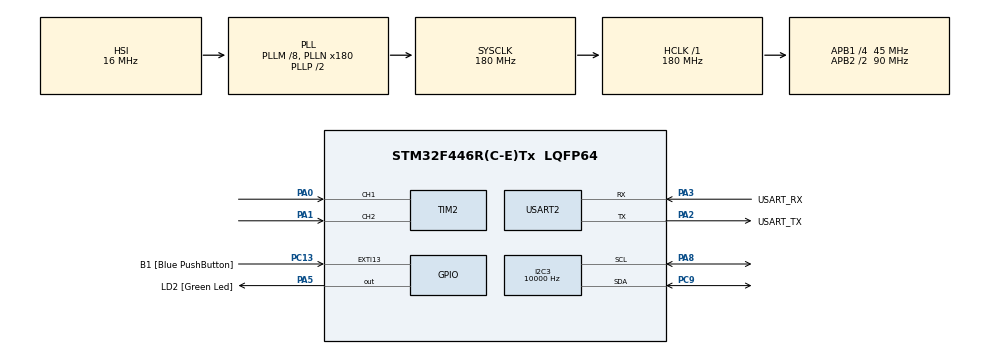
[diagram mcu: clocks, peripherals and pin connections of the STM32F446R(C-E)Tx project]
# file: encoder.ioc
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I2C3.ClockSpeed=10000
Mcu.Family=STM32F4
Mcu.Name=STM32F446R(C-E)Tx
Mcu.Package=LQFP64
NVIC.PriorityGroup=NVIC_PRIORITYGROUP_0
NVIC.TIM6_DAC_IRQn=true\:0\:0\:false\:false\:true\:true\:true\:true
PA0-WKUP.Signal=S_TIM2_CH1_ETR
PA1.Signal=S_TIM2_CH2
PA13.GPIO_Label=TMS
PA13.Mode=Serial_Wire
PA13.Signal=SYS_JTMS-SWDIO
PA14.GPIO_Label=TCK
PA14.Mode=Serial_Wire
PA14.Signal=SYS_JTCK-SWCLK
PA2.GPIO_Label=USART_TX
PA2.Mode=Asynchronous
PA2.Signal=USART2_TX
PA3.GPIO_Label=USART_RX
PA3.Mode=Asynchronous
PA3.Signal=USART2_RX
PA5.GPIO_Label=LD2 [Green Led]
PA5.Signal=GPIO_Output
PA8.Mode=I2C
PA8.Signal=I2C3_SCL
PB3.GPIO_Label=SWO
PB3.Signal=SYS_JTDO-SWO
PC13.GPIO_Label=B1 [Blue PushButton]
PC13.GPIO_ModeDefaultEXTI=GPIO_MODE_IT_FALLING
PC13.Signal=GPXTI13
PC14-OSC32_IN.Mode=LSE-External-Oscillator
PC14-OSC32_IN.Signal=RCC_OSC32_IN
PC15-OSC32_OUT.Mode=LSE-External-Oscillator
PC15-OSC32_OUT.Signal=RCC_OSC32_OUT
PC9.Mode=I2C
PC9.Signal=I2C3_SDA
PH0-OSC_IN.Mode=HSE-External-Oscillator
PH0-OSC_IN.Signal=RCC_OSC_IN
PH1-OSC_OUT.Mode=HSE-External-Oscillator
PH1-OSC_OUT.Signal=RCC_OSC_OUT
ProjectManager.HeapSize=0x200
ProjectManager.StackSize=0x400
ProjectManager.TargetToolchain=STM32CubeIDE
RCC.48MHZClocksFreq_Value=84000000
RCC.AHBFreq_Value=180000000
RCC.APB1CLKDivider=RCC_HCLK_DIV4
RCC.APB1Freq_Value=45000000
RCC.APB1TimFreq_Value=90000000
RCC.APB2CLKDivider=RCC_HCLK_DIV2
RCC.APB2Freq_Value=90000000
RCC.APB2TimFreq_Value=180000000
RCC.CortexFreq_Value=180000000
RCC.FLatency-AdvancedSettings=FLASH_LATENCY_5
RCC.HCLKFreq_Value=180000000
RCC.HSE_VALUE=8000000
RCC.HSI_VALUE=16000000
RCC.PLLM=8
RCC.PLLN=180
RCC.SYSCLKFreq_VALUE=180000000
RCC.SYSCLKSource=RCC_SYSCLKSOURCE_PLLCLK
RCC.USBFreq_Value=180000000
RCC.VCOOutputFreq_Value=360000000
SH.S_TIM2_CH1_ETR.0=TIM2_CH1,Encoder_Interface
SH.S_TIM2_CH2.0=TIM2_CH2,Encoder_Interface
TIM2.EncoderMode=TIM_ENCODERMODE_TI12
TIM2.IC1Polarity=TIM_ICPOLARITY_FALLING
TIM2.IC2Polarity=TIM_ICPOLARITY_FALLING
TIM6.Period=500-1
TIM6.Prescaler=9000-1
USART2.VirtualMode=VM_ASYNC
VP_TIM6_VS_ClockSourceINT.Mode=Enable_Timer
board=NUCLEO-F446RE

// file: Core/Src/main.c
/* USER CODE BEGIN Header */
/**
  ******************************************************************************
  * @file           : main.c
  * @brief          : Main program body
  ******************************************************************************
  * @attention
  *
  * Copyright (c) 2022 STMicroelectronics.
  * All rights reserved.
  *
  * This software is licensed under terms that can be found in the LICENSE file
  * in the root directory of this software component.
  * If no LICENSE file comes with this software, it is provided AS-IS.
  *
  ******************************************************************************
  */
/* USER CODE END Header */
#include "main.h"
#include <stdio.h>
#include "string.h"

I2C_HandleTypeDef hi2c3;

TIM_HandleTypeDef htim2;
TIM_HandleTypeDef htim6;

UART_HandleTypeDef huart2;

void SystemClock_Config(void);
static void MX_GPIO_Init(void);
static void MX_USART2_UART_Init(void);
static void MX_TIM2_Init(void);
static void MX_TIM6_Init(void);
static void MX_I2C3_Init(void);

/* USER CODE BEGIN 0 */
uint32_t counter = 0;

int32_t count = 0;

float position = 0;
float oldposition = 0;

float speed = 0;

// IMU address
uint16_t IMU_address = 214;

//void HAL_TIM_IC_CaptureCallback(TIM_HandleTypeDef *htim)
//{
//	HAL_GPIO_TogglePin(GPIOA, GPIO_PIN_5);
//	//	  HAL_Delay(5);
////	counter = __HAL_TIM_GET_COUNTER(htim);
////
////	count = (int16_t)counter;
////	position = count * 0.08789; // position in degree
//}
/* USER CODE END 0 */

int main(void)
{
  /* USER CODE BEGIN 1 */
  uint8_t buf[20];
  buf[0] = 1;
  buf[1] = 12;
  uint8_t buff[3];
  uint8_t XL_Mode = 0x60;
  uint8_t XL_IT = 0x01;
  uint8_t  OUTX_L_XL;
  uint8_t  OUTX_H_XL;
  uint8_t  OUTY_L_XL;
  uint8_t  OUTY_H_XL;
  uint8_t  OUTZ_L_XL;
  uint8_t  OUTZ_H_XL;
  uint8_t IMU_Data_Ready;

  uint16_t XL_X;
  uint16_t XL_Y;
  uint16_t XL_Z;
  /* USER CODE END 1 */

  /* MCU Configuration--------------------------------------------------------*/

  /* Reset of all peripherals, Initializes the Flash interface and the Systick. */
  HAL_Init();

  /* Configure the system clock */
  SystemClock_Config();

  /* Initialize all configured peripherals */
  MX_GPIO_Init();
  MX_USART2_UART_Init();
  MX_TIM2_Init();
  MX_TIM6_Init();
  MX_I2C3_Init();
  /* USER CODE BEGIN 2 */
  // encoder init
  HAL_TIM_Encoder_Start  ( &htim2,  TIM_CHANNEL_ALL ); //TIM2 IT enabled
  HAL_TIM_Base_Start_IT  ( &htim6 );
  /* USER CODE END 2 */

  /* Infinite loop */
  /* USER CODE BEGIN WHILE */
  while (1)
  {
	  //HAL_I2C_Master_Transmit  ( &hi2c3, IMU_address, 0x0f, 1, 10000);

	  //HAL_I2C_Master_Receive  ( &hi2c3, 214, buf, 1, 10000);

	  //HAL_I2C_Mem_Write  ( &hi2c3 ,IMU_address, 0x0f, 1, buf, 1, 10000);
	  HAL_I2C_Mem_Read  ( &hi2c3 ,IMU_address, 0x0f, 1, buf, 1, 10000);
	  HAL_Delay(1);

	  HAL_I2C_Mem_Write  ( &hi2c3 ,IMU_address, 0x10, 1, &XL_Mode, 1, 10000); // 0x10 = CTRL1_XL
	  HAL_I2C_Mem_Write  ( &hi2c3 ,IMU_address, 0x0D, 1, &XL_IT, 1, 10000); // INT1_CTRL (0Dh)
	  //HAL_Delay(10);
	  //HAL_I2C_Mem_Read  ( &hi2c3 ,IMU_address, 0x10, 1, buf[1], 1, 10000);
	  HAL_I2C_Mem_Read  ( &hi2c3 ,IMU_address, 0x0D, 1, buf, 1, 10000);
	  HAL_I2C_Mem_Read  ( &hi2c3 ,IMU_address, 0x1E, 1, &IMU_Data_Ready, 1, 10000); //STATUS_REG (1Eh)

	  if((IMU_Data_Ready & 0x01) == 1){
		  HAL_I2C_Mem_Read  ( &hi2c3 ,IMU_address, 0x28, 1, &OUTX_L_XL, 1, 10000); // OUTX_L_XL (28h)
		  HAL_I2C_Mem_Read  ( &hi2c3 ,IMU_address, 0x29, 1, &OUTX_H_XL, 1, 10000); // OUTX_H_XL (29h)
		  HAL_I2C_Mem_Read  ( &hi2c3 ,IMU_address, 0x2A, 1, &OUTY_L_XL, 1, 10000); // OUTY_L_XL (2Ah)
		  HAL_I2C_Mem_Read  ( &hi2c3 ,IMU_address, 0x2B, 1, &OUTY_H_XL, 1, 10000); // OUTY_H_XL (2Bh)
		  HAL_I2C_Mem_Read  ( &hi2c3 ,IMU_address, 0x2C, 1, &OUTZ_L_XL, 1, 10000); // OUTZ_L_XL (2Ch)
		  HAL_I2C_Mem_Read  ( &hi2c3 ,IMU_address, 0x2D, 1, &OUTZ_H_XL, 1, 10000); // OUTZ_H_XL (2Dh)
		  XL_X = (OUTX_H_XL << 8) + OUTX_L_XL;
		  XL_Y = (OUTY_H_XL << 8) + OUTY_L_XL;
		  XL_Z = (OUTZ_H_XL << 8) + OUTZ_L_XL;
		  HAL_GPIO_TogglePin(GPIOA, GPIO_PIN_5);
		  HAL_Delay(100);
		  sprintf((char*)buff, "%d ",OUTX_H_XL);
		  HAL_UART_Transmit  ( &huart2, buff, strlen((char*)buff), 10000);
		  HAL_Delay(5);
		  sprintf((char*)buff, "%d\n\r",OUTX_L_XL);
		  HAL_UART_Transmit  ( &huart2, buff, strlen((char*)buff), 10000);
		  HAL_Delay(5);
	  }
//	  HAL_GPIO_TogglePin(GPIOA, GPIO_PIN_5);
//	  HAL_Delay(500);
	  //HAL_GPIO_TogglePin(GPIOA, GPIOA5)
    /* USER CODE END WHILE */

  }
}

void SystemClock_Config(void)
{
  RCC_OscInitTypeDef RCC_OscInitStruct = {0};
  RCC_ClkInitTypeDef RCC_ClkInitStruct = {0};

  /** Configure the main internal regulator output voltage
  */
  __HAL_RCC_PWR_CLK_ENABLE();
  __HAL_PWR_VOLTAGESCALING_CONFIG(PWR_REGULATOR_VOLTAGE_SCALE1);

  /** Initializes the RCC Oscillators according to the specified parameters
  * in the RCC_OscInitTypeDef structure.
  */
  RCC_OscInitStruct.OscillatorType = RCC_OSCILLATORTYPE_HSI;
  RCC_OscInitStruct.HSIState = RCC_HSI_ON;
  RCC_OscInitStruct.HSICalibrationValue = RCC_HSICALIBRATION_DEFAULT;
  RCC_OscInitStruct.PLL.PLLState = RCC_PLL_ON;
  RCC_OscInitStruct.PLL.PLLSource = RCC_PLLSOURCE_HSI;
  RCC_OscInitStruct.PLL.PLLM = 8;
  RCC_OscInitStruct.PLL.PLLN = 180;
  RCC_OscInitStruct.PLL.PLLP = RCC_PLLP_DIV2;
  RCC_OscInitStruct.PLL.PLLQ = 2;
  RCC_OscInitStruct.PLL.PLLR = 2;
  if (HAL_RCC_OscConfig(&RCC_OscInitStruct) != HAL_OK)
  {
    Error_Handler();
  }

  /** Activate the Over-Drive mode
  */
  if (HAL_PWREx_EnableOverDrive() != HAL_OK)
  {
    Error_Handler();
  }

  /** Initializes the CPU, AHB and APB buses clocks
  */
  RCC_ClkInitStruct.ClockType = RCC_CLOCKTYPE_HCLK|RCC_CLOCKTYPE_SYSCLK
                              |RCC_CLOCKTYPE_PCLK1|RCC_CLOCKTYPE_PCLK2;
  RCC_ClkInitStruct.SYSCLKSource = RCC_SYSCLKSOURCE_PLLCLK;
  RCC_ClkInitStruct.AHBCLKDivider = RCC_SYSCLK_DIV1;
  RCC_ClkInitStruct.APB1CLKDivider = RCC_HCLK_DIV4;
  RCC_ClkInitStruct.APB2CLKDivider = RCC_HCLK_DIV2;

  if (HAL_RCC_ClockConfig(&RCC_ClkInitStruct, FLASH_LATENCY_5) != HAL_OK)
  {
    Error_Handler();
  }
}

static void MX_I2C3_Init(void)
{

  hi2c3.Instance = I2C3;
  hi2c3.Init.ClockSpeed = 10000;
  hi2c3.Init.DutyCycle = I2C_DUTYCYCLE_2;
  hi2c3.Init.OwnAddress1 = 0;
  hi2c3.Init.AddressingMode = I2C_ADDRESSINGMODE_7BIT;
  hi2c3.Init.DualAddressMode = I2C_DUALADDRESS_DISABLE;
  hi2c3.Init.OwnAddress2 = 0;
  hi2c3.Init.GeneralCallMode = I2C_GENERALCALL_DISABLE;
  hi2c3.Init.NoStretchMode = I2C_NOSTRETCH_DISABLE;
  if (HAL_I2C_Init(&hi2c3) != HAL_OK)
  {
    Error_Handler();
  }

}

static void MX_TIM2_Init(void)
{

  TIM_Encoder_InitTypeDef sConfig = {0};
  TIM_MasterConfigTypeDef sMasterConfig = {0};

  htim2.Instance = TIM2;
  htim2.Init.Prescaler = 0;
  htim2.Init.CounterMode = TIM_COUNTERMODE_UP;
  htim2.Init.Period = 4294967295;
  htim2.Init.ClockDivision = TIM_CLOCKDIVISION_DIV1;
  htim2.Init.AutoReloadPreload = TIM_AUTORELOAD_PRELOAD_DISABLE;
  sConfig.EncoderMode = TIM_ENCODERMODE_TI12;
  sConfig.IC1Polarity = TIM_ICPOLARITY_FALLING;
  sConfig.IC1Selection = TIM_ICSELECTION_DIRECTTI;
  sConfig.IC1Prescaler = TIM_ICPSC_DIV1;
  sConfig.IC1Filter = 0;
  sConfig.IC2Polarity = TIM_ICPOLARITY_FALLING;
  sConfig.IC2Selection = TIM_ICSELECTION_DIRECTTI;
  sConfig.IC2Prescaler = TIM_ICPSC_DIV1;
  sConfig.IC2Filter = 0;
  if (HAL_TIM_Encoder_Init(&htim2, &sConfig) != HAL_OK)
  {
    Error_Handler();
  }
  sMasterConfig.MasterOutputTrigger = TIM_TRGO_RESET;
  sMasterConfig.MasterSlaveMode = TIM_MASTERSLAVEMODE_DISABLE;
  if (HAL_TIMEx_MasterConfigSynchronization(&htim2, &sMasterConfig) != HAL_OK)
  {
    Error_Handler();
  }

}

static void MX_TIM6_Init(void)
{

  TIM_MasterConfigTypeDef sMasterConfig = {0};

  htim6.Instance = TIM6;
  htim6.Init.Prescaler = 9000-1;
  htim6.Init.CounterMode = TIM_COUNTERMODE_UP;
  htim6.Init.Period = 500-1;
  htim6.Init.AutoReloadPreload = TIM_AUTORELOAD_PRELOAD_DISABLE;
  if (HAL_TIM_Base_Init(&htim6) != HAL_OK)
  {
    Error_Handler();
  }
  sMasterConfig.MasterOutputTrigger = TIM_TRGO_RESET;
  sMasterConfig.MasterSlaveMode = TIM_MASTERSLAVEMODE_DISABLE;
  if (HAL_TIMEx_MasterConfigSynchronization(&htim6, &sMasterConfig) != HAL_OK)
  {
    Error_Handler();
  }

}

static void MX_USART2_UART_Init(void)
{

  huart2.Instance = USART2;
  huart2.Init.BaudRate = 115200;
  huart2.Init.WordLength = UART_WORDLENGTH_8B;
  huart2.Init.StopBits = UART_STOPBITS_1;
  huart2.Init.Parity = UART_PARITY_NONE;
  huart2.Init.Mode = UART_MODE_TX_RX;
  huart2.Init.HwFlowCtl = UART_HWCONTROL_NONE;
  huart2.Init.OverSampling = UART_OVERSAMPLING_16;
  if (HAL_UART_Init(&huart2) != HAL_OK)
  {
    Error_Handler();
  }

}

static void MX_GPIO_Init(void)
{
  GPIO_InitTypeDef GPIO_InitStruct = {0};

  /* GPIO Ports Clock Enable */
  __HAL_RCC_GPIOC_CLK_ENABLE();
  __HAL_RCC_GPIOH_CLK_ENABLE();
  __HAL_RCC_GPIOA_CLK_ENABLE();
  __HAL_RCC_GPIOB_CLK_ENABLE();

  /*Configure GPIO pin Output Level */
  HAL_GPIO_WritePin(LD2_GPIO_Port, LD2_Pin, GPIO_PIN_RESET);

  /*Configure GPIO pin : B1_Pin */
  GPIO_InitStruct.Pin = B1_Pin;
  GPIO_InitStruct.Mode = GPIO_MODE_IT_FALLING;
  GPIO_InitStruct.Pull = GPIO_NOPULL;
  HAL_GPIO_Init(B1_GPIO_Port, &GPIO_InitStruct);

  /*Configure GPIO pin : LD2_Pin */
  GPIO_InitStruct.Pin = LD2_Pin;
  GPIO_InitStruct.Mode = GPIO_MODE_OUTPUT_PP;
  GPIO_InitStruct.Pull = GPIO_NOPULL;
  GPIO_InitStruct.Speed = GPIO_SPEED_FREQ_LOW;
  HAL_GPIO_Init(LD2_GPIO_Port, &GPIO_InitStruct);

}

/* USER CODE BEGIN 4 */
void HAL_TIM_PeriodElapsedCallback  ( TIM_HandleTypeDef *  htim ) {
	if (htim == &htim6)
		{
			position = __HAL_TIM_GET_COUNTER(&htim2)* 0.08789;
			speed = (position-oldposition)*20;
			oldposition=position;
		}
}
/* USER CODE END 4 */

void Error_Handler(void)
{
  __disable_irq();
  while (1)
  {
  }
}
